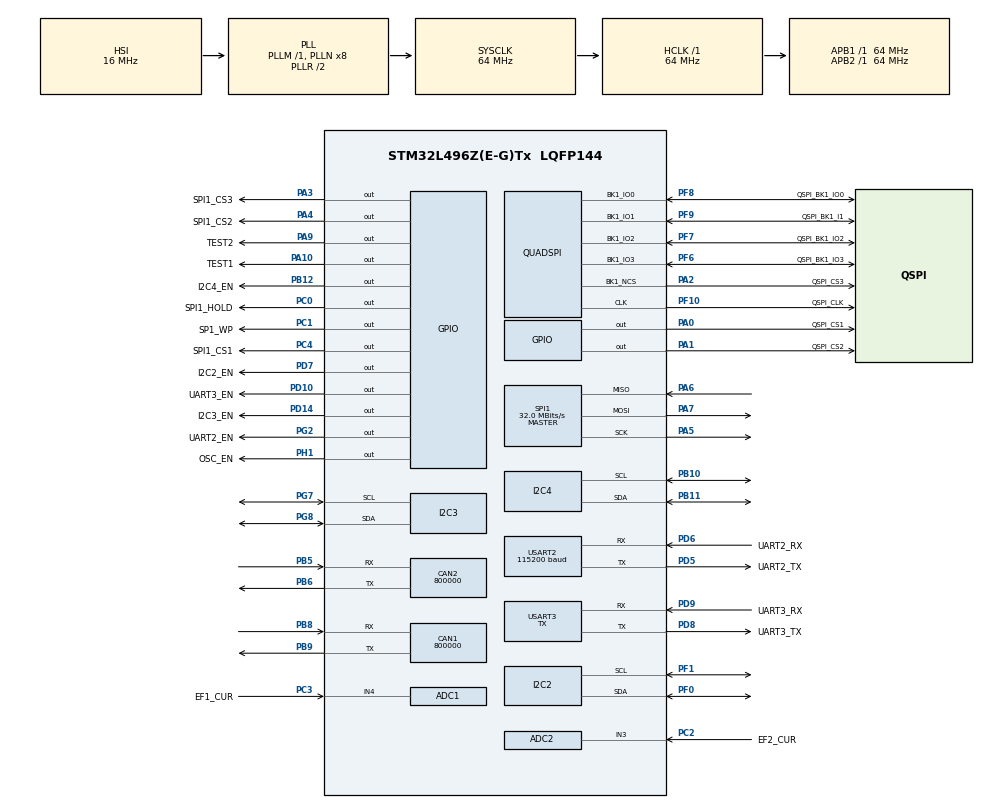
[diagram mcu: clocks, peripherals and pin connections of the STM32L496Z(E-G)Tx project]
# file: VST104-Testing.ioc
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VP_RCC_LSE.Mode=CRS SYNC Source LSE
SPI1.VirtualType=VM_MASTER
ADC2.SamplingTime-1\#ChannelRegularConversion=ADC_SAMPLETIME_2CYCLES_5
PB10.Mode=I2C
PG8.Signal=I2C3_SDA
PC15-OSC32_OUT\ (PC15).Mode=LSE-External-Oscillator
PD6.GPIO_Label=UART2_RX
PF6.GPIO_Label=QSPI_BK1_IO3
RCC.SYSCLKSource=RCC_SYSCLKSOURCE_PLLCLK
PC14-OSC32_IN\ (PC14).Mode=LSE-External-Oscillator
USART3.VirtualMode-Asynchronous=VM_ASYNC
PA14\ (JTCK/SWCLK).Signal=SYS_JTCK-SWCLK
PF7.Signal=QUADSPI_BK1_IO2
I2C4.Timing=0x10707DBC
SPI1.Direction=SPI_DIRECTION_2LINES
RCC.APB2TimFreq_Value=64000000
PB6.Signal=CAN2_TX
PB6.Mode=CAN_Activate
SPI1.CalculateBaudRate=32.0 MBits/s
PC3.Signal=ADCx_IN4
PD8.Signal=USART3_TX
QUADSPI.FlashSize=31
PF10.GPIO_Label=QSPI_CLK
PC1.GPIO_PuPd=GPIO_PULLUP
PB12.GPIO_Label=I2C4_EN
PA13\ (JTMS/SWDIO).GPIO_Label=SW_DIO
PC4.GPIO_Label=SPI1_CS1
SPI1.DataSize=SPI_DATASIZE_8BIT
PF8.Mode=Single Bank 1
PA14\ (JTCK/SWCLK).Mode=Trace_Asynchronous_SW
PA0.Signal=GPIO_Output
Mcu.Package=LQFP144
PB9.Signal=CAN1_TX
ADC2.Channel-1\#ChannelRegularConversion=ADC_CHANNEL_3
PA10.Signal=GPIO_Output
PA14\ (JTCK/SWCLK).GPIO_Label=SW_CLK
RCC.APB1TimFreq_Value=64000000
PF10.Mode=Single Bank 1
CAN1.CalculateTimeBit=1250.00
PH0-OSC_IN\ (PH0).Mode=HSE-External-Clock-Source
PA4.GPIO_Label=SPI1_CS2
RCC.HSI48_VALUE=48000000
CAN1.CalculateTimeQuantum=250.0
PA5.Mode=Full_Duplex_Master
CAN2.CalculateBaudRate=800000
PC15-OSC32_OUT\ (PC15).GPIO_Label=OSC32_OUT
PD9.GPIO_Label=UART3_RX
PA9.GPIO_Label=TEST2
CAN1.CalculateBaudRate=800000
PC2.Signal=ADCx_IN3
PD7.Signal=GPIO_Output
PC0.Signal=GPIO_Output
PD6.Mode=Asynchronous
USART2.BaudRate=115200
PC14-OSC32_IN\ (PC14).GPIO_Label=OSC32_IN
PF8.GPIO_Label=QSPI_BK1_IO0
PD10.Signal=GPIO_Output
PF1.Mode=I2C
PB11.Mode=I2C
PA9.Signal=GPIO_Output
PD8.Mode=Asynchronous
ADC2.OffsetNumber-1\#ChannelRegularConversion=ADC_OFFSET_NONE
PB10.Signal=I2C4_SCL
PA5.Signal=SPI1_SCK
SPI1.Mode=SPI_MODE_MASTER
SH.ADCx_IN4.1=ADC2_IN4
PA1.GPIO_Label=QSPI_CS2
SH.ADCx_IN4.0=ADC1_IN4,IN4-Single-Ended
ADC1.SamplingTime-1\#ChannelRegularConversion=ADC_SAMPLETIME_2CYCLES_5
PA4.Signal=GPIO_Output
PB5.Signal=CAN2_RX
USART3.Mode=MODE_TX
ADC1.master=1
ADC2.NbrOfConversionFlag=1
ADC1.Rank-1\#ChannelRegularConversion=1
ProjectManager.HeapSize=0x200
PF6.Mode=Single Bank 1
PF9.Signal=QUADSPI_BK1_IO1
NVIC.PriorityGroup=NVIC_PRIORITYGROUP_4
PB3\ (JTDO/TRACESWO).Mode=Trace_Asynchronous_SW
PB8.Mode=CAN_Activate
PC3.GPIO_Label=EF1_CUR
PC1.Signal=GPIO_Output
PA13\ (JTMS/SWDIO).Signal=SYS_JTMS-SWDIO
USART3.Parity=PARITY_EVEN
Mcu.Family=STM32L4
PG8.Mode=I2C
PA6.Mode=Full_Duplex_Master
RCC.CortexFreq_Value=64000000
PH0-OSC_IN\ (PH0).Signal=RCC_OSC_IN
PG2.Signal=GPIO_Output
CAN2.CalculateTimeBit=1250.00
USART2.Parity=PARITY_EVEN
I2C2.Timing=0x10707DBC
PA0.GPIO_Label=QSPI_CS1
PC0.GPIO_Label=SPI1_HOLD
PB11.Signal=I2C4_SDA
PD9.Mode=Asynchronous
ProjectManager.StackSize=0x400
SPI1.CLKPolarity=SPI_POLARITY_LOW
RCC.HCLKFreq_Value=64000000
SH.ADCx_IN3.0=ADC2_IN3,IN3-Single-Ended
RCC.AHBFreq_Value=64000000
PD5.Mode=Asynchronous
RCC.HSE_VALUE=26000000
USART2.VirtualMode-Asynchronous=VM_ASYNC
PF9.Mode=Single Bank 1
PF7.GPIO_Label=QSPI_BK1_IO2
PB5.Mode=CAN_Activate
PA10.GPIO_Label=TEST1
PD7.GPIO_Label=I2C2_EN
PA6.Signal=SPI1_MISO
CAN2.BS1=CAN_BS1_2TQ
CAN2.BS2=CAN_BS2_2TQ
PD5.GPIO_Label=UART2_TX
PA2.GPIO_Label=QSPI_CS3
PF8.Signal=QUADSPI_BK1_IO0
ADC1.OffsetNumber-1\#ChannelRegularConversion=ADC_OFFSET_NONE
I2C3.Timing=0x10707DBC
PF0.Signal=I2C2_SDA
PC0.GPIO_PuPd=GPIO_PULLUP
PD6.Signal=USART2_RX
SPI1.BaudRatePrescaler=SPI_BAUDRATEPRESCALER_2
PC2.GPIO_Label=EF2_CUR
PG2.GPIO_Label=UART2_EN
PA3.Signal=GPIO_Output
PH1-OSC_OUT\ (PH1).GPIO_Label=OSC_EN
PB3\ (JTDO/TRACESWO).GPIO_Label=SW_0
RCC.MSI_VALUE=4000000
ADC2.ClockPrescaler=ADC_CLOCK_ASYNC_DIV4
RCC.PLLSourceVirtual=RCC_PLLSOURCE_HSI
PA7.Mode=Full_Duplex_Master
PG7.Signal=I2C3_SCL
PA13\ (JTMS/SWDIO).Mode=Trace_Asynchronous_SW
PC4.Signal=GPIO_Output
PC15-OSC32_OUT\ (PC15).Signal=RCC_OSC32_OUT
PD9.Signal=USART3_RX
PD5.Signal=USART2_TX
PH1-OSC_OUT\ (PH1).Signal=GPIO_Output
PD8.GPIO_Label=UART3_TX
PF7.Mode=Single Bank 1
CAN1.BS2=CAN_BS2_2TQ
PF6.Signal=QUADSPI_BK1_IO3
PB3\ (JTDO/TRACESWO).Signal=SYS_JTDO-SWO
CAN1.BS1=CAN_BS1_2TQ
ProjectManager.TargetToolchain=STM32CubeIDE
PB9.Mode=CAN_Activate
ADC1.Channel-1\#ChannelRegularConversion=ADC_CHANNEL_4
RCC.USBFreq_Value=64000000
PF9.GPIO_Label=QSPI_BK1_I1
PD10.GPIO_Label=UART3_EN
PG7.Mode=I2C
PA1.Signal=GPIO_Output
board=custom
RCC.VCOOutputFreq_Value=128000000
RCC.APB2Freq_Value=64000000
PF10.Signal=QUADSPI_CLK
RCC.ADCFreq_Value=64000000
PC1.GPIO_Label=SP1_WP
CAN2.CalculateTimeQuantum=250.0
PD14.GPIO_Label=I2C3_EN
PF1.Signal=I2C2_SCL
Mcu.Name=STM32L496Z(E-G)Tx
PA2.Signal=QUADSPI_BK1_NCS
PD14.Signal=GPIO_Output
RCC.SYSCLKFreq_VALUE=64000000
PC14-OSC32_IN\ (PC14).Signal=RCC_OSC32_IN
PF0.Mode=I2C
RCC.HSI_VALUE=16000000
ADC1.NbrOfConversionFlag=1
PH0-OSC_IN\ (PH0).GPIO_Label=OSC_IN
ADC2.Rank-1\#ChannelRegularConversion=1
PA2.Mode=Single Bank 1
PB8.Signal=CAN1_RX
RCC.APB1Freq_Value=64000000
USART2.Mode=MODE_TX
ADC1.ClockPrescaler=ADC_CLOCK_ASYNC_DIV4
PB12.Signal=GPIO_Output
PA3.GPIO_Label=SPI1_CS3
PA7.Signal=SPI1_MOSI

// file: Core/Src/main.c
/* USER CODE BEGIN Header */
/**
  ******************************************************************************
  * @file           : main.c
  * @brief          : Main program body
  ******************************************************************************
  * @attention
  *
  * <h2><center>&copy; Copyright (c) 2021 STMicroelectronics.
  * All rights reserved.</center></h2>
  *
  * This software component is licensed by ST under BSD 3-Clause license,
  * the "License"; You may not use this file except in compliance with the
  * License. You may obtain a copy of the License at:
  *                        opensource.org/licenses/BSD-3-Clause
  *
  ******************************************************************************
  */
/* USER CODE END Header */
#include "main.h"

/* USER CODE BEGIN Includes */

#include <string.h>
#include <stdio.h>

#include "testing_functions.h"
#include "adc.h"
#include "s25fl256l.h"
#include "mcp9804.h"
#include "mmc5883.h"
#include "lsm6ds3.h"
#include "mpu6050.h"

/* USER CODE END Includes */

ADC_HandleTypeDef hadc1;
ADC_HandleTypeDef hadc2;

CAN_HandleTypeDef hcan1;
CAN_HandleTypeDef hcan2;

I2C_HandleTypeDef hi2c2;
I2C_HandleTypeDef hi2c3;
I2C_HandleTypeDef hi2c4;

QSPI_HandleTypeDef hqspi;

SPI_HandleTypeDef hspi1;

UART_HandleTypeDef huart2;
UART_HandleTypeDef huart3;

void SystemClock_Config(void);
static void MX_GPIO_Init(void);
static void MX_ADC1_Init(void);
static void MX_CAN1_Init(void);
static void MX_CAN2_Init(void);
static void MX_I2C2_Init(void);
static void MX_QUADSPI_Init(void);
static void MX_SPI1_Init(void);
static void MX_ADC2_Init(void);
static void MX_I2C3_Init(void);
static void MX_USART2_UART_Init(void);
static void MX_USART3_UART_Init(void);
static void MX_I2C4_Init(void);
/* USER CODE BEGIN PFP */

// SWD printf() replacement
int _write(int file, char *ptr, int len) {
	for(int i=0; i<len; i++)
		ITM_SendChar((*ptr++));
	return len;
}

/* USER CODE END PFP */

int main(void)
{

  /* MCU Configuration--------------------------------------------------------*/

  /* Reset of all peripherals, Initializes the Flash interface and the Systick. */
  HAL_Init();

  /* Configure the system clock */
  SystemClock_Config();

  /* Initialize all configured peripherals */
  MX_GPIO_Init();
  MX_ADC1_Init();
  MX_CAN1_Init();
  MX_CAN2_Init();
  MX_I2C2_Init();
  MX_QUADSPI_Init();
  MX_SPI1_Init();
  MX_ADC2_Init();
  MX_I2C3_Init();
  MX_USART2_UART_Init();
  MX_USART3_UART_Init();
  MX_I2C4_Init();
  /* USER CODE BEGIN 2 */

	//test SDW printf()
  	HAL_Delay(1500);
	printf("\nProgramm initialized\n\n");

	// assign UART pointers
	log_assignHuart(&huart2, &huart3);

	// open log isolators
	log_enable();

	for(int i=0; i<3; i++) {
		s25fl256l_configure(&hqspi, i);
	}

	for(int i=0; i<3; i++) {
		s25fl256l_readManufac(&hqspi, i);
	}

	int memmories[] = {0, 1};
	s25fl256l_writeSectorRandom(&hqspi, memmories, 2, 0);

	while(1) {
		;
	}

	// MCP reset power
	mcp9804_powerReset();

	// MCP configure
	for(int i=0; i<7; i++)
		mcp9804_configure(&hi2c2, i);

	// MCP read manufacturer
	for(int i=0; i<7; i++)
		mcp9884_readManufac(&hi2c2, i);

	// MMC reset power
	mmc5883_powerReset();

	// MMC configure
	mmc5883_configure(&hi2c3, 0);
	mmc5883_configure(&hi2c4, 1);

	// MMC read manufacturer
	mmc5883_readManufac(&hi2c3, 0);
	mmc5883_readManufac(&hi2c4, 1);

	// LSM reset power
	lsm6ds3_powerReset();

	// LSM configure
	lsm6ds3_configure(&hi2c4, 0);

	// LSM read manufacturer
	lsm6ds3_readManufac(&hi2c4, 0);

	// MPU reset power
	mpu6050_powerReset();

	// MPU configure
	mpu6050_configure(&hi2c3, 0);

	// MPU read manufacturer
	mpu6050_readManufac(&hi2c3, 0);

	HAL_Delay(500);

  /* USER CODE END 2 */

  /* Infinite loop */
  /* USER CODE BEGIN WHILE */

	// development loop
	while(1) {

		// current consumption
		curr_readData(&hadc1, 0);
		curr_readData(&hadc2, 1);

		// MCP9884
		for(int i=0; i<7; i++)
			mcp9884_readData(&hi2c2, i);

		// MMC5883
		mmc5883_readTempData(&hi2c3, 0);
		mmc5883_readTempData(&hi2c4, 1);
		mmc5883_readMagData(&hi2c3, 0);
		mmc5883_readMagData(&hi2c4, 1);

		// LSM6DS3
		lsm6ds3_readAccData(&hi2c4, 0);
		lsm6ds3_readGyroData(&hi2c4, 0);
		lsm6ds3_readTempData(&hi2c4, 0);

		// MPU6050
		mpu6050_readAccData(&hi2c3, 0);
		mpu6050_readGyroData(&hi2c3, 0);
		mpu6050_readTempData(&hi2c3, 0);

		HAL_Delay(5000);
	}

/*
	//read and print SYSCLK, HCLK, PCLK1 and PCLK2 frequencies
	printf("\t- SYSCLK freq.: %lu [Hz]\n", HAL_RCC_GetSysClockFreq());
	printf("\t- HCLK   freq.: %lu [Hz]\n", HAL_RCC_GetHCLKFreq());
	printf("\t- PCLK1  freq.: %lu [Hz]\n", HAL_RCC_GetPCLK1Freq());
	printf("\t- PCLK2  freq.: %lu [Hz]\n", HAL_RCC_GetPCLK2Freq());
*/

    /* USER CODE END WHILE */

}

void SystemClock_Config(void)
{
  RCC_OscInitTypeDef RCC_OscInitStruct = {0};
  RCC_ClkInitTypeDef RCC_ClkInitStruct = {0};
  RCC_PeriphCLKInitTypeDef PeriphClkInit = {0};
  RCC_CRSInitTypeDef RCC_CRSInitStruct = {0};

  /** Initializes the RCC Oscillators according to the specified parameters
  * in the RCC_OscInitTypeDef structure.
  */
  RCC_OscInitStruct.OscillatorType = RCC_OSCILLATORTYPE_HSI;
  RCC_OscInitStruct.HSIState = RCC_HSI_ON;
  RCC_OscInitStruct.HSICalibrationValue = RCC_HSICALIBRATION_DEFAULT;
  RCC_OscInitStruct.PLL.PLLState = RCC_PLL_ON;
  RCC_OscInitStruct.PLL.PLLSource = RCC_PLLSOURCE_HSI;
  RCC_OscInitStruct.PLL.PLLM = 1;
  RCC_OscInitStruct.PLL.PLLN = 8;
  RCC_OscInitStruct.PLL.PLLP = RCC_PLLP_DIV2;
  RCC_OscInitStruct.PLL.PLLQ = RCC_PLLQ_DIV2;
  RCC_OscInitStruct.PLL.PLLR = RCC_PLLR_DIV2;
  if (HAL_RCC_OscConfig(&RCC_OscInitStruct) != HAL_OK)
  {
    Error_Handler();
  }
  /** Initializes the CPU, AHB and APB buses clocks
  */
  RCC_ClkInitStruct.ClockType = RCC_CLOCKTYPE_HCLK|RCC_CLOCKTYPE_SYSCLK
                              |RCC_CLOCKTYPE_PCLK1|RCC_CLOCKTYPE_PCLK2;
  RCC_ClkInitStruct.SYSCLKSource = RCC_SYSCLKSOURCE_PLLCLK;
  RCC_ClkInitStruct.AHBCLKDivider = RCC_SYSCLK_DIV1;
  RCC_ClkInitStruct.APB1CLKDivider = RCC_HCLK_DIV1;
  RCC_ClkInitStruct.APB2CLKDivider = RCC_HCLK_DIV1;

  if (HAL_RCC_ClockConfig(&RCC_ClkInitStruct, FLASH_LATENCY_3) != HAL_OK)
  {
    Error_Handler();
  }
  PeriphClkInit.PeriphClockSelection = RCC_PERIPHCLK_USART2|RCC_PERIPHCLK_USART3
                              |RCC_PERIPHCLK_I2C2|RCC_PERIPHCLK_I2C3
                              |RCC_PERIPHCLK_I2C4|RCC_PERIPHCLK_ADC;
  PeriphClkInit.Usart2ClockSelection = RCC_USART2CLKSOURCE_PCLK1;
  PeriphClkInit.Usart3ClockSelection = RCC_USART3CLKSOURCE_PCLK1;
  PeriphClkInit.I2c2ClockSelection = RCC_I2C2CLKSOURCE_PCLK1;
  PeriphClkInit.I2c3ClockSelection = RCC_I2C3CLKSOURCE_PCLK1;
  PeriphClkInit.I2c4ClockSelection = RCC_I2C4CLKSOURCE_PCLK1;
  PeriphClkInit.AdcClockSelection = RCC_ADCCLKSOURCE_PLLSAI1;
  PeriphClkInit.PLLSAI1.PLLSAI1Source = RCC_PLLSOURCE_HSI;
  PeriphClkInit.PLLSAI1.PLLSAI1M = 1;
  PeriphClkInit.PLLSAI1.PLLSAI1N = 8;
  PeriphClkInit.PLLSAI1.PLLSAI1P = RCC_PLLP_DIV2;
  PeriphClkInit.PLLSAI1.PLLSAI1Q = RCC_PLLQ_DIV2;
  PeriphClkInit.PLLSAI1.PLLSAI1R = RCC_PLLR_DIV2;
  PeriphClkInit.PLLSAI1.PLLSAI1ClockOut = RCC_PLLSAI1_ADC1CLK;
  if (HAL_RCCEx_PeriphCLKConfig(&PeriphClkInit) != HAL_OK)
  {
    Error_Handler();
  }
  /** Configure the main internal regulator output voltage
  */
  if (HAL_PWREx_ControlVoltageScaling(PWR_REGULATOR_VOLTAGE_SCALE1) != HAL_OK)
  {
    Error_Handler();
  }
  /** Enable the SYSCFG APB clock
  */
  __HAL_RCC_CRS_CLK_ENABLE();
  /** Configures CRS
  */
  RCC_CRSInitStruct.Prescaler = RCC_CRS_SYNC_DIV1;
  RCC_CRSInitStruct.Source = RCC_CRS_SYNC_SOURCE_LSE;
  RCC_CRSInitStruct.Polarity = RCC_CRS_SYNC_POLARITY_RISING;
  RCC_CRSInitStruct.ReloadValue = __HAL_RCC_CRS_RELOADVALUE_CALCULATE(48000000,32768);
  RCC_CRSInitStruct.ErrorLimitValue = 34;
  RCC_CRSInitStruct.HSI48CalibrationValue = 32;

  HAL_RCCEx_CRSConfig(&RCC_CRSInitStruct);
}

static void MX_ADC1_Init(void)
{

  ADC_MultiModeTypeDef multimode = {0};
  ADC_ChannelConfTypeDef sConfig = {0};

  /** Common config
  */
  hadc1.Instance = ADC1;
  hadc1.Init.ClockPrescaler = ADC_CLOCK_ASYNC_DIV4;
  hadc1.Init.Resolution = ADC_RESOLUTION_12B;
  hadc1.Init.DataAlign = ADC_DATAALIGN_RIGHT;
  hadc1.Init.ScanConvMode = ADC_SCAN_DISABLE;
  hadc1.Init.EOCSelection = ADC_EOC_SINGLE_CONV;
  hadc1.Init.LowPowerAutoWait = DISABLE;
  hadc1.Init.ContinuousConvMode = DISABLE;
  hadc1.Init.NbrOfConversion = 1;
  hadc1.Init.DiscontinuousConvMode = DISABLE;
  hadc1.Init.ExternalTrigConv = ADC_SOFTWARE_START;
  hadc1.Init.ExternalTrigConvEdge = ADC_EXTERNALTRIGCONVEDGE_NONE;
  hadc1.Init.DMAContinuousRequests = DISABLE;
  hadc1.Init.Overrun = ADC_OVR_DATA_PRESERVED;
  hadc1.Init.OversamplingMode = DISABLE;
  if (HAL_ADC_Init(&hadc1) != HAL_OK)
  {
    Error_Handler();
  }
  /** Configure the ADC multi-mode
  */
  multimode.Mode = ADC_MODE_INDEPENDENT;
  if (HAL_ADCEx_MultiModeConfigChannel(&hadc1, &multimode) != HAL_OK)
  {
    Error_Handler();
  }
  /** Configure Regular Channel
  */
  sConfig.Channel = ADC_CHANNEL_4;
  sConfig.Rank = ADC_REGULAR_RANK_1;
  sConfig.SamplingTime = ADC_SAMPLETIME_2CYCLES_5;
  sConfig.SingleDiff = ADC_SINGLE_ENDED;
  sConfig.OffsetNumber = ADC_OFFSET_NONE;
  sConfig.Offset = 0;
  if (HAL_ADC_ConfigChannel(&hadc1, &sConfig) != HAL_OK)
  {
    Error_Handler();
  }

}

static void MX_ADC2_Init(void)
{

  ADC_ChannelConfTypeDef sConfig = {0};

  /** Common config
  */
  hadc2.Instance = ADC2;
  hadc2.Init.ClockPrescaler = ADC_CLOCK_ASYNC_DIV4;
  hadc2.Init.Resolution = ADC_RESOLUTION_12B;
  hadc2.Init.DataAlign = ADC_DATAALIGN_RIGHT;
  hadc2.Init.ScanConvMode = ADC_SCAN_DISABLE;
  hadc2.Init.EOCSelection = ADC_EOC_SINGLE_CONV;
  hadc2.Init.LowPowerAutoWait = DISABLE;
  hadc2.Init.ContinuousConvMode = DISABLE;
  hadc2.Init.NbrOfConversion = 1;
  hadc2.Init.DiscontinuousConvMode = DISABLE;
  hadc2.Init.ExternalTrigConv = ADC_SOFTWARE_START;
  hadc2.Init.ExternalTrigConvEdge = ADC_EXTERNALTRIGCONVEDGE_NONE;
  hadc2.Init.DMAContinuousRequests = DISABLE;
  hadc2.Init.Overrun = ADC_OVR_DATA_PRESERVED;
  hadc2.Init.OversamplingMode = DISABLE;
  if (HAL_ADC_Init(&hadc2) != HAL_OK)
  {
    Error_Handler();
  }
  /** Configure Regular Channel
  */
  sConfig.Channel = ADC_CHANNEL_3;
  sConfig.Rank = ADC_REGULAR_RANK_1;
  sConfig.SamplingTime = ADC_SAMPLETIME_2CYCLES_5;
  sConfig.SingleDiff = ADC_SINGLE_ENDED;
  sConfig.OffsetNumber = ADC_OFFSET_NONE;
  sConfig.Offset = 0;
  if (HAL_ADC_ConfigChannel(&hadc2, &sConfig) != HAL_OK)
  {
    Error_Handler();
  }

}

static void MX_CAN1_Init(void)
{

  hcan1.Instance = CAN1;
  hcan1.Init.Prescaler = 16;
  hcan1.Init.Mode = CAN_MODE_NORMAL;
  hcan1.Init.SyncJumpWidth = CAN_SJW_1TQ;
  hcan1.Init.TimeSeg1 = CAN_BS1_2TQ;
  hcan1.Init.TimeSeg2 = CAN_BS2_2TQ;
  hcan1.Init.TimeTriggeredMode = DISABLE;
  hcan1.Init.AutoBusOff = DISABLE;
  hcan1.Init.AutoWakeUp = DISABLE;
  hcan1.Init.AutoRetransmission = DISABLE;
  hcan1.Init.ReceiveFifoLocked = DISABLE;
  hcan1.Init.TransmitFifoPriority = DISABLE;
  if (HAL_CAN_Init(&hcan1) != HAL_OK)
  {
    Error_Handler();
  }

}

static void MX_CAN2_Init(void)
{

  hcan2.Instance = CAN2;
  hcan2.Init.Prescaler = 16;
  hcan2.Init.Mode = CAN_MODE_NORMAL;
  hcan2.Init.SyncJumpWidth = CAN_SJW_1TQ;
  hcan2.Init.TimeSeg1 = CAN_BS1_2TQ;
  hcan2.Init.TimeSeg2 = CAN_BS2_2TQ;
  hcan2.Init.TimeTriggeredMode = DISABLE;
  hcan2.Init.AutoBusOff = DISABLE;
  hcan2.Init.AutoWakeUp = DISABLE;
  hcan2.Init.AutoRetransmission = DISABLE;
  hcan2.Init.ReceiveFifoLocked = DISABLE;
  hcan2.Init.TransmitFifoPriority = DISABLE;
  if (HAL_CAN_Init(&hcan2) != HAL_OK)
  {
    Error_Handler();
  }

}

static void MX_I2C2_Init(void)
{

  hi2c2.Instance = I2C2;
  hi2c2.Init.Timing = 0x10707DBC;
  hi2c2.Init.OwnAddress1 = 0;
  hi2c2.Init.AddressingMode = I2C_ADDRESSINGMODE_7BIT;
  hi2c2.Init.DualAddressMode = I2C_DUALADDRESS_DISABLE;
  hi2c2.Init.OwnAddress2 = 0;
  hi2c2.Init.OwnAddress2Masks = I2C_OA2_NOMASK;
  hi2c2.Init.GeneralCallMode = I2C_GENERALCALL_DISABLE;
  hi2c2.Init.NoStretchMode = I2C_NOSTRETCH_DISABLE;
  if (HAL_I2C_Init(&hi2c2) != HAL_OK)
  {
    Error_Handler();
  }
  /** Configure Analogue filter
  */
  if (HAL_I2CEx_ConfigAnalogFilter(&hi2c2, I2C_ANALOGFILTER_ENABLE) != HAL_OK)
  {
    Error_Handler();
  }
  /** Configure Digital filter
  */
  if (HAL_I2CEx_ConfigDigitalFilter(&hi2c2, 0) != HAL_OK)
  {
    Error_Handler();
  }

}

static void MX_I2C3_Init(void)
{

  hi2c3.Instance = I2C3;
  hi2c3.Init.Timing = 0x10707DBC;
  hi2c3.Init.OwnAddress1 = 0;
  hi2c3.Init.AddressingMode = I2C_ADDRESSINGMODE_7BIT;
  hi2c3.Init.DualAddressMode = I2C_DUALADDRESS_DISABLE;
  hi2c3.Init.OwnAddress2 = 0;
  hi2c3.Init.OwnAddress2Masks = I2C_OA2_NOMASK;
  hi2c3.Init.GeneralCallMode = I2C_GENERALCALL_DISABLE;
  hi2c3.Init.NoStretchMode = I2C_NOSTRETCH_DISABLE;
  if (HAL_I2C_Init(&hi2c3) != HAL_OK)
  {
    Error_Handler();
  }
  /** Configure Analogue filter
  */
  if (HAL_I2CEx_ConfigAnalogFilter(&hi2c3, I2C_ANALOGFILTER_ENABLE) != HAL_OK)
  {
    Error_Handler();
  }
  /** Configure Digital filter
  */
  if (HAL_I2CEx_ConfigDigitalFilter(&hi2c3, 0) != HAL_OK)
  {
    Error_Handler();
  }

}

static void MX_I2C4_Init(void)
{

  hi2c4.Instance = I2C4;
  hi2c4.Init.Timing = 0x10707DBC;
  hi2c4.Init.OwnAddress1 = 0;
  hi2c4.Init.AddressingMode = I2C_ADDRESSINGMODE_7BIT;
  hi2c4.Init.DualAddressMode = I2C_DUALADDRESS_DISABLE;
  hi2c4.Init.OwnAddress2 = 0;
  hi2c4.Init.OwnAddress2Masks = I2C_OA2_NOMASK;
  hi2c4.Init.GeneralCallMode = I2C_GENERALCALL_DISABLE;
  hi2c4.Init.NoStretchMode = I2C_NOSTRETCH_DISABLE;
  if (HAL_I2C_Init(&hi2c4) != HAL_OK)
  {
    Error_Handler();
  }
  /** Configure Analogue filter
  */
  if (HAL_I2CEx_ConfigAnalogFilter(&hi2c4, I2C_ANALOGFILTER_ENABLE) != HAL_OK)
  {
    Error_Handler();
  }
  /** Configure Digital filter
  */
  if (HAL_I2CEx_ConfigDigitalFilter(&hi2c4, 0) != HAL_OK)
  {
    Error_Handler();
  }

}

static void MX_QUADSPI_Init(void)
{

  /* QUADSPI parameter configuration*/
  hqspi.Instance = QUADSPI;
  hqspi.Init.ClockPrescaler = 255;
  hqspi.Init.FifoThreshold = 1;
  hqspi.Init.SampleShifting = QSPI_SAMPLE_SHIFTING_NONE;
  hqspi.Init.FlashSize = 31;
  hqspi.Init.ChipSelectHighTime = QSPI_CS_HIGH_TIME_1_CYCLE;
  hqspi.Init.ClockMode = QSPI_CLOCK_MODE_0;
  hqspi.Init.FlashID = QSPI_FLASH_ID_1;
  hqspi.Init.DualFlash = QSPI_DUALFLASH_DISABLE;
  if (HAL_QSPI_Init(&hqspi) != HAL_OK)
  {
    Error_Handler();
  }

}

static void MX_SPI1_Init(void)
{

  /* SPI1 parameter configuration*/
  hspi1.Instance = SPI1;
  hspi1.Init.Mode = SPI_MODE_MASTER;
  hspi1.Init.Direction = SPI_DIRECTION_2LINES;
  hspi1.Init.DataSize = SPI_DATASIZE_8BIT;
  hspi1.Init.CLKPolarity = SPI_POLARITY_LOW;
  hspi1.Init.CLKPhase = SPI_PHASE_1EDGE;
  hspi1.Init.NSS = SPI_NSS_SOFT;
  hspi1.Init.BaudRatePrescaler = SPI_BAUDRATEPRESCALER_2;
  hspi1.Init.FirstBit = SPI_FIRSTBIT_MSB;
  hspi1.Init.TIMode = SPI_TIMODE_DISABLE;
  hspi1.Init.CRCCalculation = SPI_CRCCALCULATION_DISABLE;
  hspi1.Init.CRCPolynomial = 7;
  hspi1.Init.CRCLength = SPI_CRC_LENGTH_DATASIZE;
  hspi1.Init.NSSPMode = SPI_NSS_PULSE_ENABLE;
  if (HAL_SPI_Init(&hspi1) != HAL_OK)
  {
    Error_Handler();
  }

}

static void MX_USART2_UART_Init(void)
{

  huart2.Instance = USART2;
  huart2.Init.BaudRate = 115200;
  huart2.Init.WordLength = UART_WORDLENGTH_8B;
  huart2.Init.StopBits = UART_STOPBITS_1;
  huart2.Init.Parity = UART_PARITY_EVEN;
  huart2.Init.Mode = UART_MODE_TX;
  huart2.Init.HwFlowCtl = UART_HWCONTROL_NONE;
  huart2.Init.OverSampling = UART_OVERSAMPLING_16;
  huart2.Init.OneBitSampling = UART_ONE_BIT_SAMPLE_DISABLE;
  huart2.AdvancedInit.AdvFeatureInit = UART_ADVFEATURE_NO_INIT;
  if (HAL_UART_Init(&huart2) != HAL_OK)
  {
    Error_Handler();
  }

}

static void MX_USART3_UART_Init(void)
{

  huart3.Instance = USART3;
  huart3.Init.BaudRate = 115200;
  huart3.Init.WordLength = UART_WORDLENGTH_8B;
  huart3.Init.StopBits = UART_STOPBITS_1;
  huart3.Init.Parity = UART_PARITY_EVEN;
  huart3.Init.Mode = UART_MODE_TX;
  huart3.Init.HwFlowCtl = UART_HWCONTROL_NONE;
  huart3.Init.OverSampling = UART_OVERSAMPLING_16;
  huart3.Init.OneBitSampling = UART_ONE_BIT_SAMPLE_DISABLE;
  huart3.AdvancedInit.AdvFeatureInit = UART_ADVFEATURE_NO_INIT;
  if (HAL_UART_Init(&huart3) != HAL_OK)
  {
    Error_Handler();
  }

}

static void MX_GPIO_Init(void)
{
  GPIO_InitTypeDef GPIO_InitStruct = {0};

  /* GPIO Ports Clock Enable */
  __HAL_RCC_GPIOC_CLK_ENABLE();
  __HAL_RCC_GPIOF_CLK_ENABLE();
  __HAL_RCC_GPIOH_CLK_ENABLE();
  __HAL_RCC_GPIOA_CLK_ENABLE();
  __HAL_RCC_GPIOB_CLK_ENABLE();
  __HAL_RCC_GPIOD_CLK_ENABLE();
  __HAL_RCC_GPIOG_CLK_ENABLE();
  HAL_PWREx_EnableVddIO2();

  /*Configure GPIO pin Output Level */
  HAL_GPIO_WritePin(OSC_EN_GPIO_Port, OSC_EN_Pin, GPIO_PIN_RESET);

  /*Configure GPIO pin Output Level */
  HAL_GPIO_WritePin(GPIOC, SPI1_HOLD_Pin|SP1_WP_Pin|SPI1_CS1_Pin, GPIO_PIN_RESET);

  /*Configure GPIO pin Output Level */
  HAL_GPIO_WritePin(GPIOA, QSPI_CS1_Pin|QSPI_CS2_Pin|SPI1_CS3_Pin|SPI1_CS2_Pin
                          |TEST2_Pin|TEST1_Pin, GPIO_PIN_RESET);

  /*Configure GPIO pin Output Level */
  HAL_GPIO_WritePin(I2C4_EN_GPIO_Port, I2C4_EN_Pin, GPIO_PIN_RESET);

  /*Configure GPIO pin Output Level */
  HAL_GPIO_WritePin(GPIOD, UART3_EN_Pin|I2C3_EN_Pin|I2C2_EN_Pin, GPIO_PIN_RESET);

  /*Configure GPIO pin Output Level */
  HAL_GPIO_WritePin(UART2_EN_GPIO_Port, UART2_EN_Pin, GPIO_PIN_RESET);

  /*Configure GPIO pin : OSC_EN_Pin */
  GPIO_InitStruct.Pin = OSC_EN_Pin;
  GPIO_InitStruct.Mode = GPIO_MODE_OUTPUT_PP;
  GPIO_InitStruct.Pull = GPIO_NOPULL;
  GPIO_InitStruct.Speed = GPIO_SPEED_FREQ_LOW;
  HAL_GPIO_Init(OSC_EN_GPIO_Port, &GPIO_InitStruct);

  /*Configure GPIO pins : SPI1_HOLD_Pin SP1_WP_Pin */
  GPIO_InitStruct.Pin = SPI1_HOLD_Pin|SP1_WP_Pin;
  GPIO_InitStruct.Mode = GPIO_MODE_OUTPUT_PP;
  GPIO_InitStruct.Pull = GPIO_PULLUP;
  GPIO_InitStruct.Speed = GPIO_SPEED_FREQ_LOW;
  HAL_GPIO_Init(GPIOC, &GPIO_InitStruct);

  /*Configure GPIO pins : QSPI_CS1_Pin QSPI_CS2_Pin SPI1_CS3_Pin SPI1_CS2_Pin
                           TEST2_Pin TEST1_Pin */
  GPIO_InitStruct.Pin = QSPI_CS1_Pin|QSPI_CS2_Pin|SPI1_CS3_Pin|SPI1_CS2_Pin
                          |TEST2_Pin|TEST1_Pin;
  GPIO_InitStruct.Mode = GPIO_MODE_OUTPUT_PP;
  GPIO_InitStruct.Pull = GPIO_NOPULL;
  GPIO_InitStruct.Speed = GPIO_SPEED_FREQ_LOW;
  HAL_GPIO_Init(GPIOA, &GPIO_InitStruct);

  /*Configure GPIO pin : SPI1_CS1_Pin */
  GPIO_InitStruct.Pin = SPI1_CS1_Pin;
  GPIO_InitStruct.Mode = GPIO_MODE_OUTPUT_PP;
  GPIO_InitStruct.Pull = GPIO_NOPULL;
  GPIO_InitStruct.Speed = GPIO_SPEED_FREQ_LOW;
  HAL_GPIO_Init(SPI1_CS1_GPIO_Port, &GPIO_InitStruct);

  /*Configure GPIO pin : I2C4_EN_Pin */
  GPIO_InitStruct.Pin = I2C4_EN_Pin;
  GPIO_InitStruct.Mode = GPIO_MODE_OUTPUT_PP;
  GPIO_InitStruct.Pull = GPIO_NOPULL;
  GPIO_InitStruct.Speed = GPIO_SPEED_FREQ_LOW;
  HAL_GPIO_Init(I2C4_EN_GPIO_Port, &GPIO_InitStruct);

  /*Configure GPIO pins : UART3_EN_Pin I2C3_EN_Pin I2C2_EN_Pin */
  GPIO_InitStruct.Pin = UART3_EN_Pin|I2C3_EN_Pin|I2C2_EN_Pin;
  GPIO_InitStruct.Mode = GPIO_MODE_OUTPUT_PP;
  GPIO_InitStruct.Pull = GPIO_NOPULL;
  GPIO_InitStruct.Speed = GPIO_SPEED_FREQ_LOW;
  HAL_GPIO_Init(GPIOD, &GPIO_InitStruct);

  /*Configure GPIO pin : UART2_EN_Pin */
  GPIO_InitStruct.Pin = UART2_EN_Pin;
  GPIO_InitStruct.Mode = GPIO_MODE_OUTPUT_PP;
  GPIO_InitStruct.Pull = GPIO_NOPULL;
  GPIO_InitStruct.Speed = GPIO_SPEED_FREQ_LOW;
  HAL_GPIO_Init(UART2_EN_GPIO_Port, &GPIO_InitStruct);

}

void Error_Handler(void)
{
  __disable_irq();
  while (1)
  {
  }
}

/************************ (C) COPYRIGHT STMicroelectronics *****END OF FILE****/
